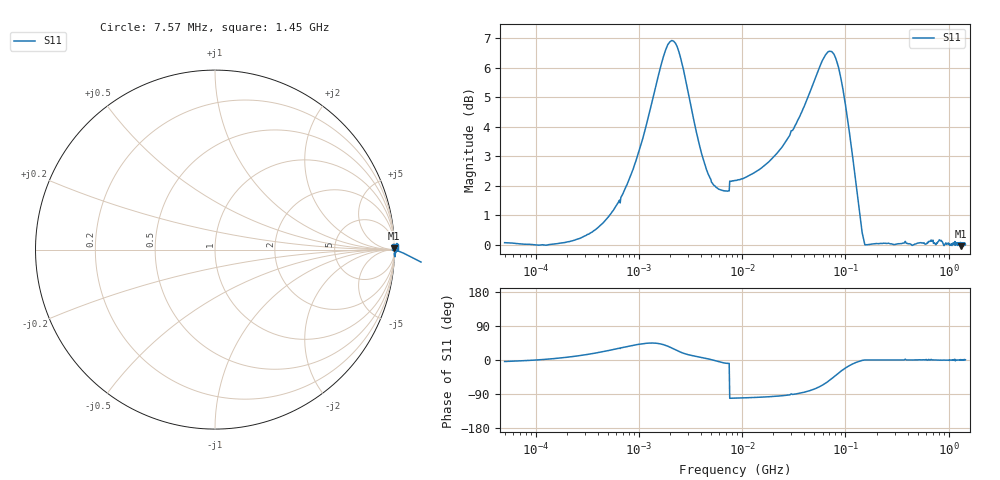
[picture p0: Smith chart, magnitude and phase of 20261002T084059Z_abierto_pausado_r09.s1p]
! piloto_saltos / abierto_pausado / r09
# HZ S RI R 50
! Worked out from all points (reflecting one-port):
!   501 points, 50 kHz to 1.45 GHz, reference 50 ohm
!   lowest |S11| = 0.0 dB at 1.315 GHz (marker M1), VSWR 421.97, Z = 6.61e+03 + j9.78e+03 ohm
!   phase of S11 starts at -4 deg and turns +5 deg over the sweep
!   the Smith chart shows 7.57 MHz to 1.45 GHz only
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50000  1.007 -0.07
183000  1.003 0.1043
354000  1.007 0.306
658000  1.017 0.5943
1180000  1.147 1.113
1630000  1.489 1.352
1990000  1.827 1.24
2440000  1.96 0.8158
3430000  1.587 0.2946
4870000  1.298 0.0439
7300000  1.219 -0.1929
7750000  -0.241 -1.259
8560000  -0.2349 -1.265
1.81e7  -0.1677 -1.373
3.16e7  -0.0121 -1.575
4.69e7  0.3404 -1.813
5.68e7  0.6972 -1.886
6.49e7  1.045 -1.827
7.39e7  1.398 -1.601
8.65e7  1.651 -1.099
9.82e7  1.627 -0.6735
1e8  1.611 -0.6207
1.18e8  1.378 -0.2458
1.36e8  1.148 -0.0693
1.63e8  1.001 0.000122
4.06e8  1.005 0.00296
1.315e9  0.9952 0.00699
1.45e9  1.003 0.0119
